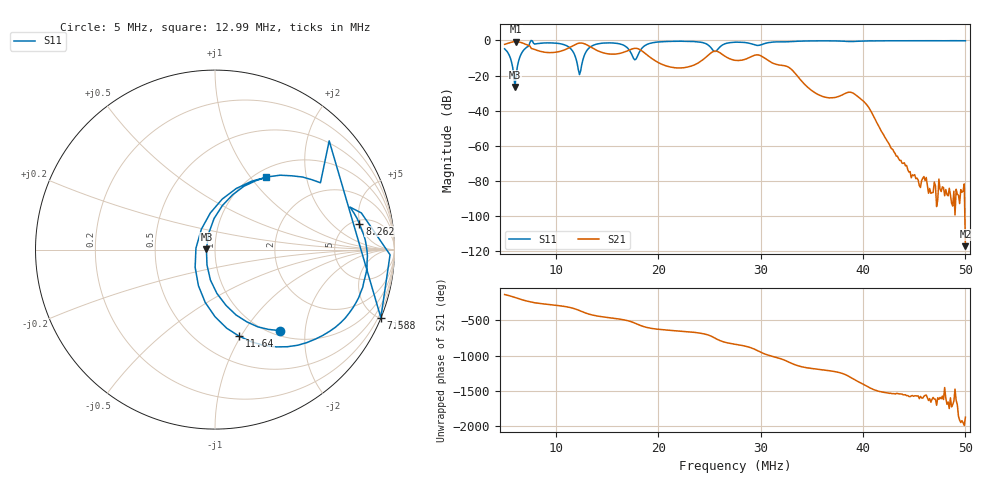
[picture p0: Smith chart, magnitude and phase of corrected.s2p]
! S11/S21 only; reverse parameters are placeholders. Device calibration unverified.
! [Saver CAL applied] C:\Users\aknya\MyProjects\rf-simulator\calibration2.cal | Ideal standards assumed | Input: NanoVNA F V2 profile | COM3 | 2026-09-08T12:08:26.7190533-04:00 | device calibration unverified
# HZ S RI R 50
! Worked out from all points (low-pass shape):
!   401 points, 5 MHz to 50 MHz, reference 50 ohm
!   highest |S21| = -0.68 dB at 6.125 MHz (marker M1); lowest = -117.1 dB at 50 MHz (marker M2)
!   |S21| within 3 dB of the highest: start of sweep to 7.519 MHz; 11.46 MHz to 13.39 MHz (1.925 MHz wide, 15.5 % of centre)
!   lowest |S11| = -26.4 dB at 6.013 MHz (marker M3), VSWR 1.10, Z = 45.4 + j0.132 ohm
!   |S11| at or under -10 dB: 5.563 MHz to 6.456 MHz (893 kHz wide, 14.9 % of centre); 11.95 MHz to 12.7 MHz (753.6 kHz wide, 6.11 % of centre); 17.58 MHz to 17.89 MHz (310.6 kHz wide, 1.75 % of centre)
!   S12 and S22 are empty: the file has one direction only
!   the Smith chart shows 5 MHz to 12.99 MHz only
!   S11 on the Smith chart (normalised r, x): 5 MHz: 1.09, -1.47; 7.588 MHz: 0.01, -5.07; 8.262 MHz: 5.62, +4.88; 11.64 MHz: 0.76, -0.98; 12.99 MHz: 1.12, +1.20
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5000000  0.3596 -0.4512  -0.5578 -0.5368  0 0  0 0
6012500  -0.0477 0.00145  -0.9219 -0.042  0 0  0 0
6125000  -0.0351 0.0909  -0.9233 0.0474  0 0  0 0
7587500  0.9241 -0.3794  -0.2926 0.5241  0 0  0 0
8262500  0.8043 0.1444  -0.0993 0.5022  0 0  0 0
1.0175e7  0.7482 -0.3525  0.1693 0.4405  0 0  0 0
1.16375e7  0.1336 -0.4818  0.5939 0.3673  0 0  0 0
1.25375e7  -0.0264 0.2038  0.8077 -0.2342  0 0  0 0
1.29875e7  0.2855 0.4031  0.5718 -0.502  0 0  0 0
1.535e7  0.818 -0.2389  -0.113 -0.3924  0 0  0 0
1.6925e7  0.2287 -0.5992  -0.3926 -0.3039  0 0  0 0
1.77125e7  -0.2807 -0.0118  -0.5965 -0.00659  0 0  0 0
1.85e7  0.2863 0.5723  -0.3374 0.3432  0 0  0 0
2.0075e7  0.8872 0.1934  -0.00586 0.2288  0 0  0 0
2.53625e7  0.4235 -0.304  0.4582 -0.1492  0 0  0 0
2.75e7  0.8144 -0.3578  -0.1356 -0.2354  0 0  0 0
3.02e7  0.7093 -0.325  -0.1493 0.3077  0 0  0 0
3.50375e7  0.7031 -0.6707  -0.00789 -0.0358  0 0  0 0
3.92e7  0.5473 -0.7608  -0.00378 0.0292  0 0  0 0
4.2575e7  0.4435 -0.8726  -6.54e-05 -0.0011  0 0  0 0
4.53875e7  0.3342 -0.921  -6.67e-05 -8.21e-05  0 0  0 0
5e7  0.158 -0.9671  4.44e-07 -1.32e-06  0 0  0 0
